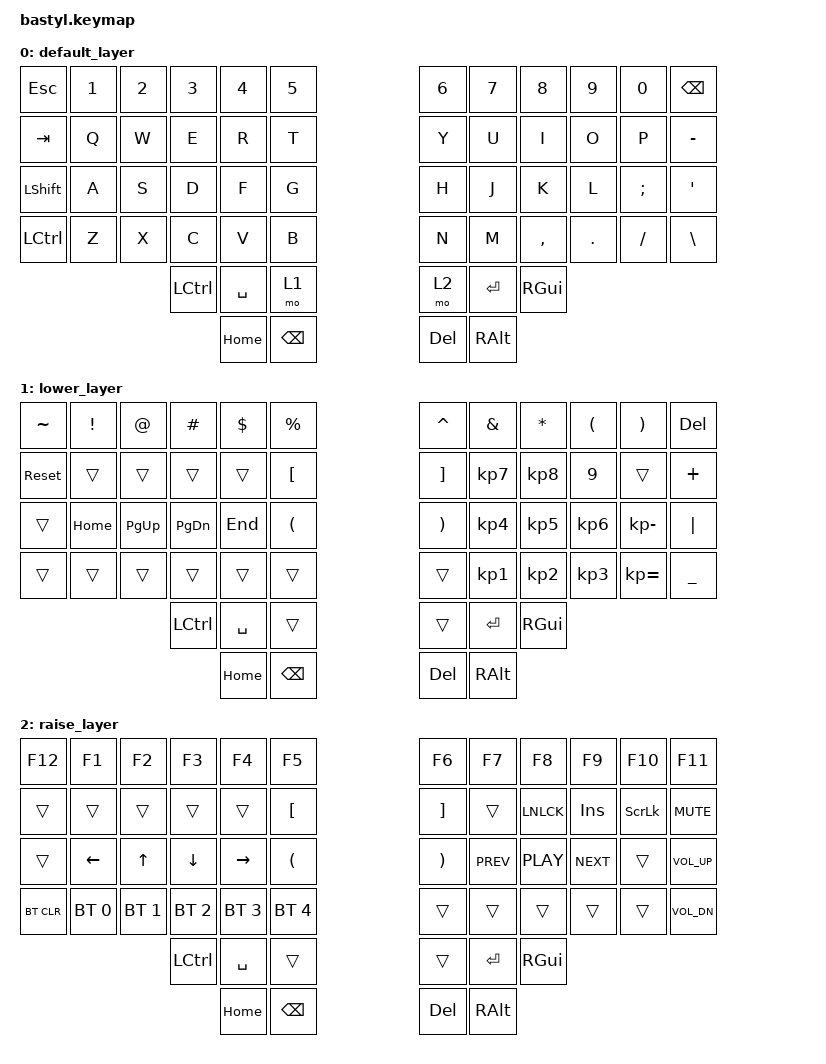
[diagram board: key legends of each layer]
/*
 * Copyright (c) 2020 ZMK Contributors
 *
 * SPDX-License-Identifier: MIT
 */


#include <behaviors.dtsi>
#include <dt-bindings/zmk/keys.h>
#include <dt-bindings/zmk/bt.h>

/ {
	keymap {
		compatible = "zmk,keymap";

		default_layer {
// ------------------------------------------------------------------------------------------------------------
// |  ESC  |  1  |  2  |  3   |  4   |  5   |                   |  6   |  7    |  8    |  9   |   0   |  BKSP |
// |  TAB  |  Q  |  W  |  E   |  R   |  T   |                   |  Y   |  U    |  I    |  O   |   P   |   -   |
// | SHIFT |  A  |  S  |  D   |  F   |  G   |                   |  H   |  J    |  K    |  L   |   ;   |   '   |
// | CTRL  |  Z  |  X  |  C   |  V   |  B   |                   |  N   |  M    |  ,    |  .   |   /   |   \   |
//                     | CTRL | SPCE | LOWER|                   | RAISE| ENTR  | RGUI|
//                            | HOME | BKSP |                   | DEL  | ALT | 
			bindings = <
&kp ESC   &kp N1    &kp N2   &kp N3    &kp N4    &kp N5                    &kp N6    &kp N7   &kp N8    &kp N9    &kp N0   &kp BSPC
&kp TAB   &kp Q     &kp W    &kp E     &kp R     &kp T                     &kp Y     &kp U    &kp I     &kp O     &kp P    &kp MINUS
&kp LSHFT &kp A     &kp S    &kp D     &kp F     &kp G                     &kp H     &kp J    &kp K     &kp L     &kp SEMI &kp SQT
&kp LCTRL &kp Z     &kp X    &kp C     &kp V     &kp B                     &kp N     &kp M    &kp COMMA &kp DOT   &kp FSLH &kp BSLH
                             &kp LCTRL &kp SPACE &mo 1                     &mo 2     &kp ENTER &kp RGUI
                                       &kp HOME  &kp BSPC                  &kp DEL   &kp RALT
			>;
		};
        
		lower_layer {
// ------------------------------------------------------------------------------------------------------------
// | TILDE |  !   |  @    |  #    |  $   |  %   |                   |  ^   |  &    |  *    |  (   |   )   |  DEL  |
// | RESET |      |       |       |      |  [   |                   |  ]   |  7    |  8    |  9   |       |   +   |
// |       | HOME | PG UP | PG DN | END  |  (   |                   |  )   |  4    |  5    |  6   |   -   |  "|"  |
// |       |      |       |       |      |      |        |  |       |      |  1    |  2    |  3   |   =   |   _   |
//                        |  CTRL | SPCE |      |                   |      | ENTR  | RGUI|
//                                | HOME | BKSP |                   | DEL  | ALT | 

			bindings = <
&kp TILDE &kp EXCL  &kp AT    &kp HASH  &kp DLLR  &kp PRCNT                 &kp CARET &kp AMPS   &kp STAR  &kp LPAR  &kp RPAR     &kp DEL
&sys_reset    &trans    &trans    &trans    &trans    &kp LBKT                  &kp RBKT  &kp KP_N7  &kp KP_N8 &kp N9    &trans       &kp PLUS
&trans    &kp HOME  &kp PG_UP &kp PG_DN &kp END   &kp LPAR                  &kp RPAR  &kp KP_N4  &kp KP_N5 &kp KP_N6 &kp KP_MINUS &kp PIPE
&trans    &trans    &trans    &trans    &trans    &trans                    &trans    &kp KP_N1  &kp KP_N2 &kp KP_N3 &kp KP_EQUAL &kp UNDER
                              &kp LCTRL &kp SPACE &trans                    &trans    &kp ENTER  &kp RGUI
                                        &kp HOME  &kp BSPC                  &kp DEL   &kp RALT
            >;
        };

		raise_layer {
// ------------------------------------------------------------------------------------------------------------
// | F12    |  F1      |  F2       |   F3     |  F4      |  F5      |                    |  F6  |  F7  |     F8   |  F9   |   F10    |  F11   | 
// |        |          |           |          |          |  [       |                    |  ]   |      | NUM LOCK |  INS  | SCL LOCK |  MUTE  |
// |        | LEFT     |  UP       | DOWN     | RIGHT    |  (       |                    |  )   | PREV | PLAY     | NEXT  |          | VOL UP |
// | BT CLR | BT SEL 0 | BT SEL 1  | BT SEL 2 | BT SEL 3 | BT SEL 4 |        |  |        |      |      |          |       |          | VOL DN |
//                                 |  CTRL    | SPCE     |          |                    |      | ENTR | RGUI     |
//                                            | HOME     | BKSP     |                    | DEL  | ALT | 
          
bindings = <
&kp F12    &kp F1       &kp F2       &kp F3       &kp F4       &kp F5                    &kp F6    &kp F7     &kp F8     &kp F9     &kp F10   &kp F11
&trans     &trans       &trans       &trans       &trans       &kp LBKT                  &kp RBKT  &trans     &kp LNLCK  &kp INS    &kp SLCK  &kp K_MUTE
&trans     &kp LEFT     &kp UP       &kp DOWN     &kp RIGHT    &kp LPAR                  &kp RPAR  &kp K_PREV &kp C_PLAY &kp K_NEXT &trans    &kp K_VOL_UP 
&bt BT_CLR &bt BT_SEL 0 &bt BT_SEL 1 &bt BT_SEL 2 &bt BT_SEL 3 &bt BT_SEL 4              &trans    &trans     &trans     &trans     &trans    &kp K_VOL_DN
                                     &kp LCTRL    &kp SPACE    &trans                    &trans    &kp ENTER  &kp RGUI
                                                  &kp HOME     &kp BSPC                  &kp DEL   &kp RALT
            >;
        };
	};
};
